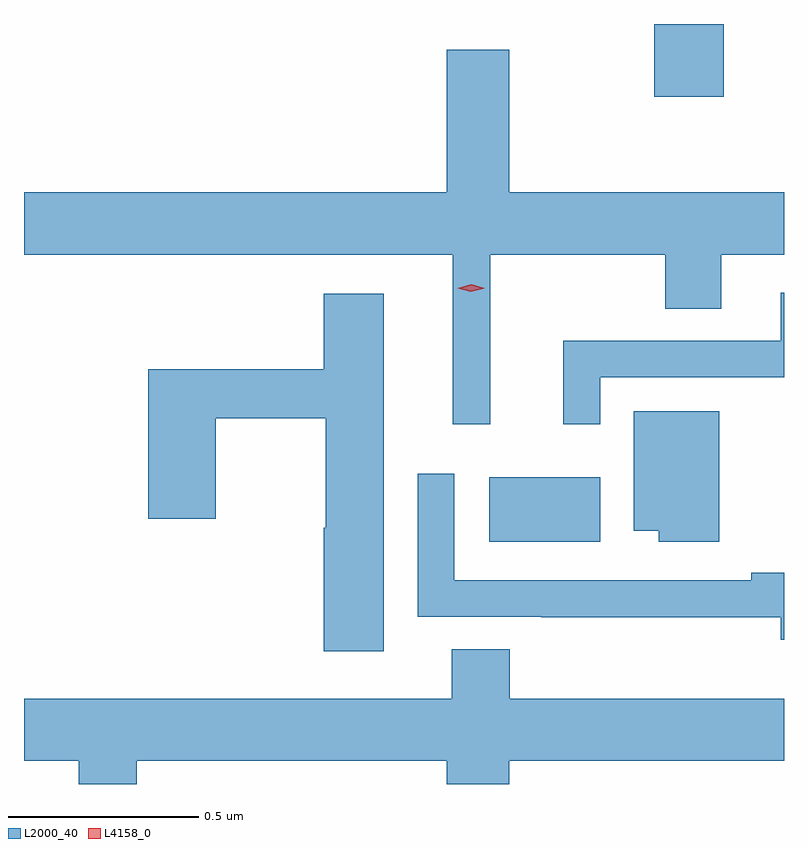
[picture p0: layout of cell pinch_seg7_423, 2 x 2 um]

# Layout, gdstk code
import gdstk
lib = gdstk.Library(unit=1e-6, precision=1e-09)
def R(c, l, rs):  # rectangles x0, y0, x1, y1
    for r in rs: c.add(gdstk.rectangle(r[:2], r[2:], *l))
def P(c, l, *ps):  # polygons
    for p in ps: c.add(gdstk.Polygon(p, *l))
L2000_40 = (2000, 40)
L4158_0 = (4158, 0)

pinch_seg7_423 = lib.new_cell('pinch_seg7_423')
R(pinch_seg7_423, L2000_40, [(524.759,1033.16,525.052,1033.33), (525.194,1034.331,525.377,1034.523)])
P(pinch_seg7_423, L2000_40, [(524.812,1034.455),(524.648,1034.455),(524.648,1034.08),(523.535,1034.08),(523.535,1033.916),(524.663,1033.916),(524.663,1033.47),(524.762,1033.47),(524.762,1033.916),(525.223,1033.916),(525.223,1033.774),(525.37,1033.774),(525.37,1033.916),(525.535,1033.916),(525.535,1034.08),(524.812,1034.08)],
  [(525.051,1033.593),(525.535,1033.593),(525.535,1033.816),(525.527,1033.816),(525.527,1033.689),(524.954,1033.689),(524.954,1033.47),(525.051,1033.47)],
  [(524.482,1033.813),(524.324,1033.813),(524.324,1033.615),(523.862,1033.615),(523.862,1033.221),(524.04,1033.221),(524.04,1033.486),(524.329,1033.486),(524.329,1033.197),(524.324,1033.197),(524.324,1032.873),(524.482,1032.873)],
  [(525.364,1033.504),(525.14,1033.504),(525.14,1033.19),(525.206,1033.19),(525.206,1033.16),(525.364,1033.16)],
  [(525.535,1033.079),(525.449,1033.079),(525.449,1033.059),(524.667,1033.059),(524.667,1033.339),(524.571,1033.339),(524.571,1032.963),(524.896,1032.963),(524.896,1032.962),(525.526,1032.962),(525.526,1032.903),(525.535,1032.903)],
  [(523.535,1032.584),(523.679,1032.584),(523.679,1032.523),(523.832,1032.523),(523.832,1032.584),(524.648,1032.584),(524.648,1032.523),(524.812,1032.523),(524.812,1032.584),(525.535,1032.584),(525.535,1032.748),(524.813,1032.748),(524.813,1032.878),(524.66,1032.878),(524.66,1032.748),(523.535,1032.748)])
P(pinch_seg7_423, L4158_0, [(524.711,1033.818),(524.676,1033.828),(524.676,1033.828),(524.676,1033.828),(524.712,1033.838),(524.747,1033.827),(524.747,1033.827),(524.747,1033.827)])

lib.write_gds('pinch_seg7_423.gds')
